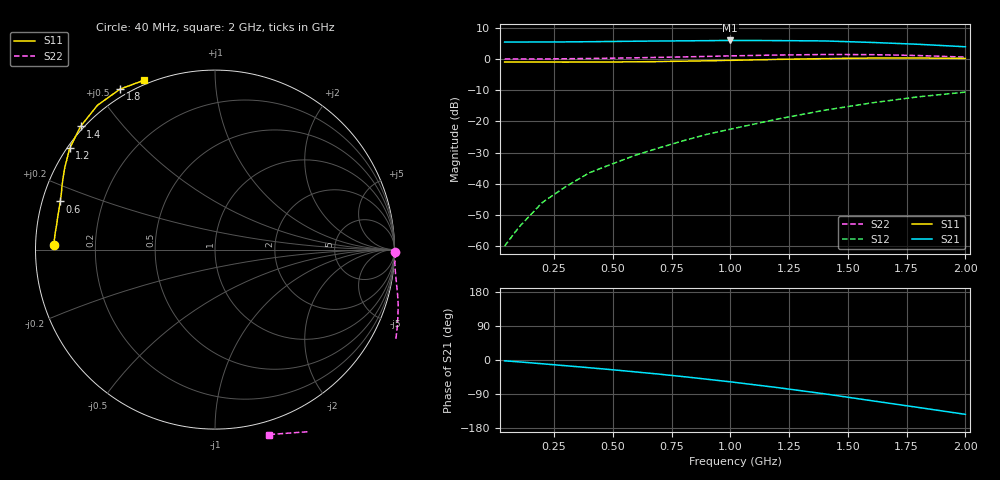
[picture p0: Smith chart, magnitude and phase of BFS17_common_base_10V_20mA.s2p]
! Filename:  BFS17CBJ.S2P  Version:  2.0
! Philips part #: BFS17  Date: Jul 1990
! Bias condition: Vce=10V, Ic=20mA
! COMMON BASE
#  MHz  S  MA  R  50
! Freq  S11  S21  S12  S22
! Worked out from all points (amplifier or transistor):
!   16 points, 40 MHz to 2 GHz, reference 50 ohm
!   highest |S21| = 6.0 dB at 1 GHz (marker M1)
!   |S21| within 3 dB of that: start of sweep to end of sweep
!   unconditionally stable (mu >= 1): nowhere
!   at 200 MHz: K = -0.45, MSG = 25.7 dB, |S12| = -46.0 dB
!   at 800 MHz: K = -0.80, MSG = 16.0 dB, |S12| = -26.2 dB
!   at 2 GHz: K = -0.10, MSG = 7.3 dB, |S12| = -10.6 dB
!   S11 on the Smith chart (normalised r, x): 40 MHz: 0.05, +0.01; 600 MHz: 0.05, +0.15; 1.2 GHz: 0.01, +0.31; 1.4 GHz: -0.01, +0.39; 1.8 GHz: -0.03, +0.57; 2 GHz: -0.02, +0.67
40  0.899 178.5  1.874 -2.2  0.001 65.8  1.001 -0.9
100  0.897 176.9  1.875 -4.9  0.002 91.3  1.005 -2.1
200  0.895 173.9  1.877 -9.9  0.005 112.6  1.005 -4.3
300  0.893 170.9  1.883 -15.1  0.009 123.2  1.011 -6.6
400  0.895 168.3  1.896 -20.4  0.015 129.6  1.021 -9.0
500  0.898 165.4  1.914 -25.8  0.021 133.1  1.033 -11.4
600  0.903 162.7  1.932 -31.6  0.029 135.7  1.048 -13.9
700  0.911 160.0  1.947 -37.5  0.038 137.1  1.065 -16.6
800  0.924 157.3  1.957 -43.9  0.049 137.6  1.082 -19.6
900  0.937 154.5  1.971 -50.7  0.062 137.9  1.102 -22.8
1000  0.953 151.5  1.986 -57.6  0.075 137.5  1.124 -26.3
1200  0.987 145.1  1.975 -72.7  0.109 135.2  1.159 -34.1
1400  1.016 137.5  1.951 -89.2  0.151 130.3  1.183 -43.1
1600  1.037 129.2  1.847 -107.3  0.198 125.1  1.177 -52.8
1800  1.039 120.6  1.724 -125.2  0.248 117.8  1.138 -63.1
2000  1.023 112.6  1.573 -143.4  0.295 110.6  1.074 -73.6
